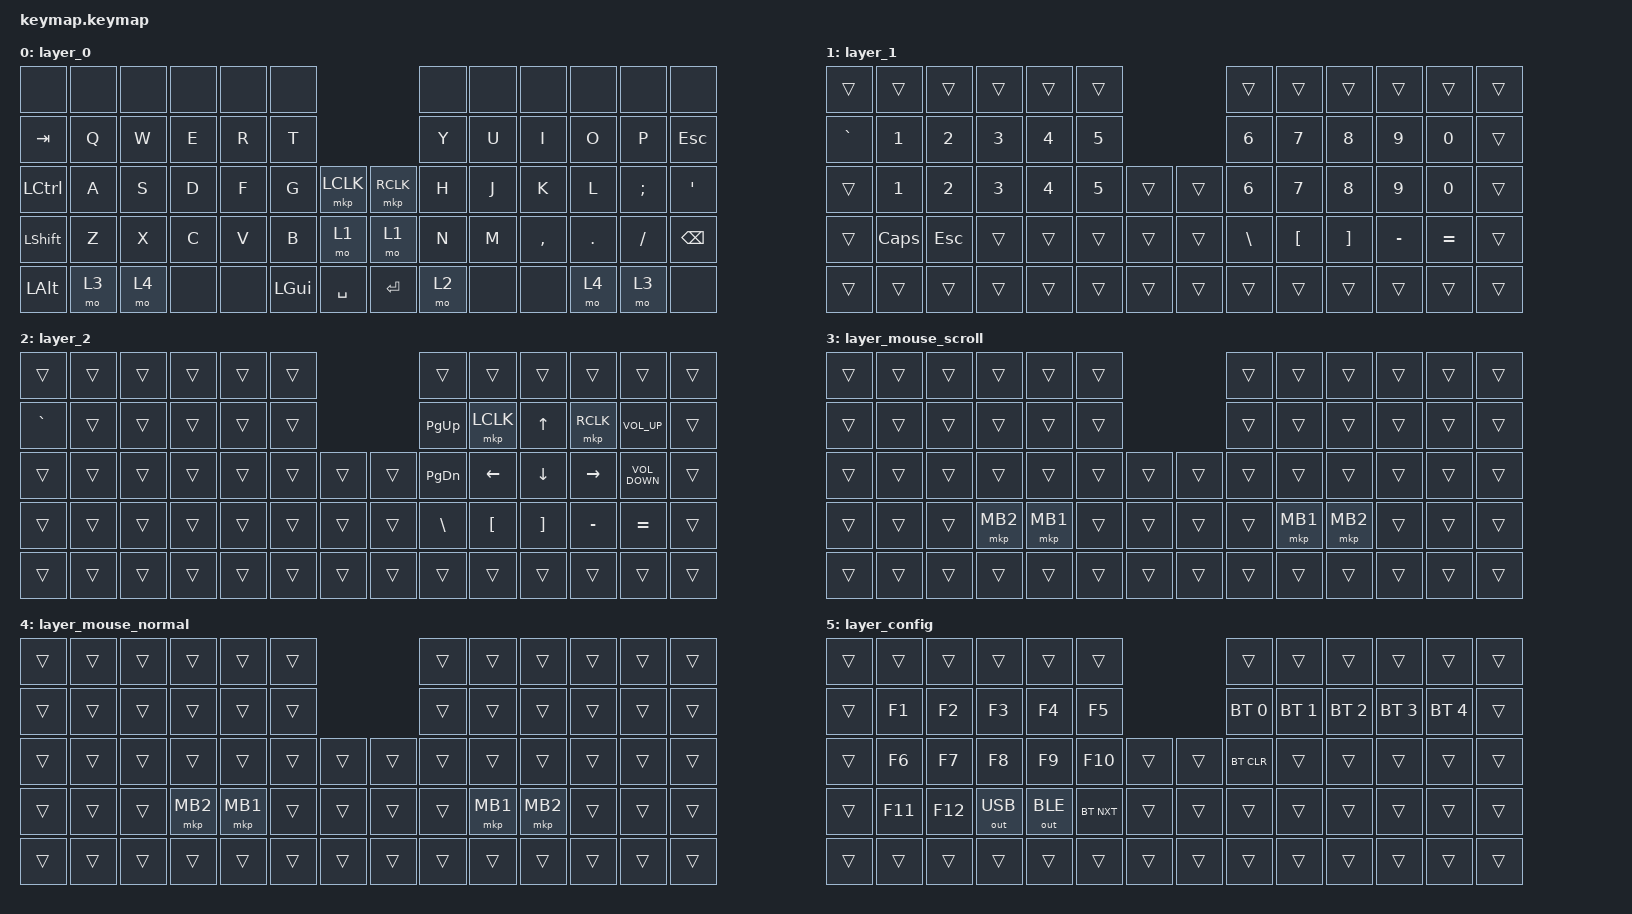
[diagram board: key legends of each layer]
#include <behaviors.dtsi>
#include <dt-bindings/zmk/bt.h>
#include <dt-bindings/zmk/keys.h>
#include <dt-bindings/zmk/outputs.h>
#include <dt-bindings/zmk/pointing.h>

/ {
    combos { compatible = "zmk,combos"; };

    keymap {
        compatible = "zmk,keymap";

        layer_0 {
            bindings = <
&none             &none  &none  &none  &none  &none                               &none  &none  &none      &none    &none      &none
&kp TAB           &kp Q  &kp W  &kp E  &kp R  &kp T                               &kp Y  &kp U  &kp I      &kp O    &kp P      &kp ESCAPE
&kp LEFT_CONTROL  &kp A  &kp S  &kp D  &kp F  &kp G         &mkp LCLK  &mkp RCLK  &kp H  &kp J  &kp K      &kp L    &kp SEMI   &kp SQT
&kp LSHFT         &kp Z  &kp X  &kp C  &kp V  &kp B         &mo 1      &mo 1      &kp N  &kp M  &kp COMMA  &kp DOT  &kp SLASH  &kp BACKSPACE
&kp LEFT_ALT      &mo 3  &mo 4  &none  &none  &kp LEFT_GUI  &kp SPACE  &kp ENTER  &mo 2  &none  &none      &mo 4    &mo 3      &none
            >;
        };

        layer_1 {
            bindings = <
&trans     &trans        &trans        &trans        &trans        &trans                        &trans         &trans            &trans             &trans        &trans        &trans
&kp GRAVE  &kp NUMBER_1  &kp NUMBER_2  &kp NUMBER_3  &kp NUMBER_4  &kp NUMBER_5                  &kp NUMBER_6   &kp NUMBER_7      &kp NUMBER_8       &kp NUMBER_9  &kp NUMBER_0  &trans
&trans     &kp N1        &kp N2        &kp N3        &kp N4        &kp N5        &trans  &trans  &kp NUMBER_6   &kp N7            &kp N8             &kp N9        &kp N0        &trans
&trans     &kp CAPSLOCK  &kp ESCAPE    &trans        &trans        &trans        &trans  &trans  &kp BACKSLASH  &kp LEFT_BRACKET  &kp RIGHT_BRACKET  &kp MINUS     &kp EQUAL     &trans
&trans     &trans        &trans        &trans        &trans        &trans        &trans  &trans  &trans         &trans            &trans             &trans        &trans        &trans
            >;
        };

        layer_2 {
            bindings = <
&trans     &trans  &trans  &trans  &trans  &trans                  &trans         &trans            &trans             &trans           &trans             &trans
&kp GRAVE  &trans  &trans  &trans  &trans  &trans                  &kp PAGE_UP    &mkp LCLK         &kp UP_ARROW       &mkp RCLK        &kp C_VOL_UP       &trans
&trans     &trans  &trans  &trans  &trans  &trans  &trans  &trans  &kp PAGE_DOWN  &kp LEFT_ARROW    &kp DOWN_ARROW     &kp RIGHT_ARROW  &kp C_VOLUME_DOWN  &trans
&trans     &trans  &trans  &trans  &trans  &trans  &trans  &trans  &kp BACKSLASH  &kp LEFT_BRACKET  &kp RIGHT_BRACKET  &kp MINUS        &kp EQUAL          &trans
&trans     &trans  &trans  &trans  &trans  &trans  &trans  &trans  &trans         &trans            &trans             &trans           &trans             &trans
            >;
        };

        layer_mouse_scroll {
            bindings = <
&trans  &trans  &trans  &trans    &trans    &trans                  &trans  &trans    &trans    &trans  &trans  &trans
&trans  &trans  &trans  &trans    &trans    &trans                  &trans  &trans    &trans    &trans  &trans  &trans
&trans  &trans  &trans  &trans    &trans    &trans  &trans  &trans  &trans  &trans    &trans    &trans  &trans  &trans
&trans  &trans  &trans  &mkp MB2  &mkp MB1  &trans  &trans  &trans  &trans  &mkp MB1  &mkp MB2  &trans  &trans  &trans
&trans  &trans  &trans  &trans    &trans    &trans  &trans  &trans  &trans  &trans    &trans    &trans  &trans  &trans
            >;
        };

        layer_mouse_normal {
            bindings = <
&trans  &trans  &trans  &trans    &trans    &trans                  &trans  &trans    &trans    &trans  &trans  &trans
&trans  &trans  &trans  &trans    &trans    &trans                  &trans  &trans    &trans    &trans  &trans  &trans
&trans  &trans  &trans  &trans    &trans    &trans  &trans  &trans  &trans  &trans    &trans    &trans  &trans  &trans
&trans  &trans  &trans  &mkp MB2  &mkp MB1  &trans  &trans  &trans  &trans  &mkp MB1  &mkp MB2  &trans  &trans  &trans
&trans  &trans  &trans  &trans    &trans    &trans  &trans  &trans  &trans  &trans    &trans    &trans  &trans  &trans
            >;
        };

        layer_config {
            bindings = <
&trans  &trans   &trans   &trans        &trans        &trans                      &trans        &trans        &trans        &trans        &trans        &trans
&trans  &kp F1   &kp F2   &kp F3        &kp F4        &kp F5                      &bt BT_SEL 0  &bt BT_SEL 1  &bt BT_SEL 2  &bt BT_SEL 3  &bt BT_SEL 4  &trans
&trans  &kp F6   &kp F7   &kp F8        &kp F9        &kp F10     &trans  &trans  &bt BT_CLR    &trans        &trans        &trans        &trans        &trans
&trans  &kp F11  &kp F12  &out OUT_USB  &out OUT_BLE  &bt BT_NXT  &trans  &trans  &trans        &trans        &trans        &trans        &trans        &trans
&trans  &trans   &trans   &trans        &trans        &trans      &trans  &trans  &trans        &trans        &trans        &trans        &trans        &trans
            >;
        };
    };

    conditional_layers {
        compatible = "zmk,conditional-layers";

        Tri-layer {
            if-layers = <1 2>;
            then-layer = <5>;
        };
    };
};
